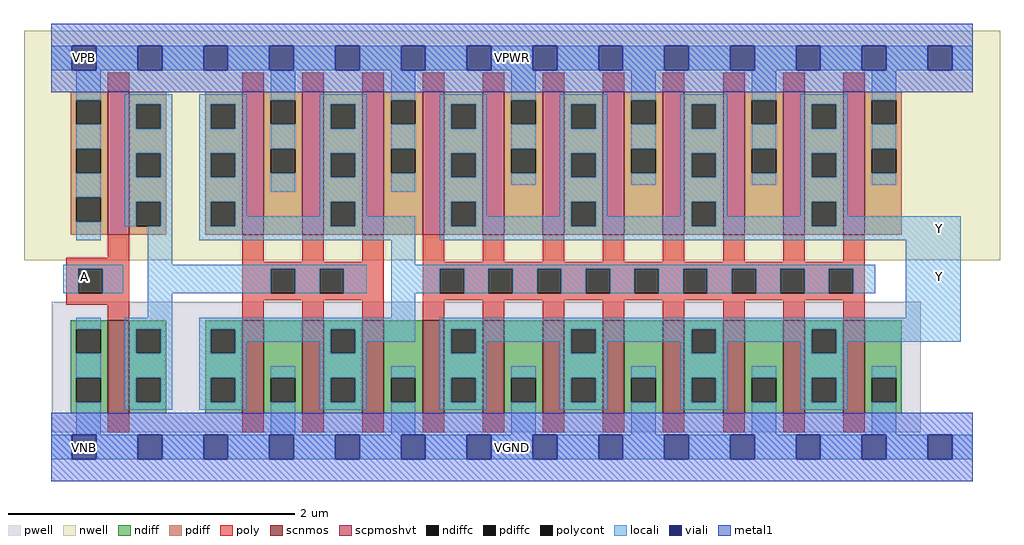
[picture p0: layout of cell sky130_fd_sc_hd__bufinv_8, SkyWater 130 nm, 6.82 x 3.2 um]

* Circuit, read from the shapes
.subckt sky130_fd_sc_hd__bufinv_8 A VGND VNB VPB VPWR Y
XM1 n1 A VGND VNB sky130_fd_pr__nfet_01v8 w=0.65 l=0.15
XM2 VGND n1 n2 VNB sky130_fd_pr__nfet_01v8 w=0.65 l=0.15 m=3
XM3 Y n2 VGND VNB sky130_fd_pr__nfet_01v8 w=0.65 l=0.15 m=8
XM4 n1 A VPWR VPB sky130_fd_pr__pfet_01v8_hvt w=1 l=0.15
XM5 VPWR n1 n2 VPB sky130_fd_pr__pfet_01v8_hvt w=1 l=0.15 m=3
XM6 Y n2 VPWR VPB sky130_fd_pr__pfet_01v8_hvt w=1 l=0.15 m=8
.ends

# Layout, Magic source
magic
tech sky130B
magscale 1 2
<< nwell >>
rect -38 261 1326 582
<< pwell >>
rect 1 21 1215 203
rect 30 -17 64 21
<< scnmos >>
rect 79 47 109 177
rect 267 47 297 177
rect 351 47 381 177
rect 435 47 465 177
rect 519 47 549 177
rect 603 47 633 177
rect 687 47 717 177
rect 771 47 801 177
rect 855 47 885 177
rect 939 47 969 177
rect 1023 47 1053 177
rect 1107 47 1137 177
<< scpmoshvt >>
rect 79 297 109 497
rect 267 297 297 497
rect 351 297 381 497
rect 435 297 465 497
rect 519 297 549 497
rect 603 297 633 497
rect 687 297 717 497
rect 771 297 801 497
rect 855 297 885 497
rect 939 297 969 497
rect 1023 297 1053 497
rect 1107 297 1137 497
<< ndiff >>
rect 27 165 79 177
rect 27 131 35 165
rect 69 131 79 165
rect 27 97 79 131
rect 27 63 35 97
rect 69 63 79 97
rect 27 47 79 63
rect 109 165 161 177
rect 109 131 119 165
rect 153 131 161 165
rect 109 97 161 131
rect 109 63 119 97
rect 153 63 161 97
rect 109 47 161 63
rect 215 165 267 177
rect 215 131 223 165
rect 257 131 267 165
rect 215 97 267 131
rect 215 63 223 97
rect 257 63 267 97
rect 215 47 267 63
rect 297 97 351 177
rect 297 63 307 97
rect 341 63 351 97
rect 297 47 351 63
rect 381 165 435 177
rect 381 131 391 165
rect 425 131 435 165
rect 381 97 435 131
rect 381 63 391 97
rect 425 63 435 97
rect 381 47 435 63
rect 465 97 519 177
rect 465 63 475 97
rect 509 63 519 97
rect 465 47 519 63
rect 549 165 603 177
rect 549 131 559 165
rect 593 131 603 165
rect 549 97 603 131
rect 549 63 559 97
rect 593 63 603 97
rect 549 47 603 63
rect 633 97 687 177
rect 633 63 643 97
rect 677 63 687 97
rect 633 47 687 63
rect 717 165 771 177
rect 717 131 727 165
rect 761 131 771 165
rect 717 97 771 131
rect 717 63 727 97
rect 761 63 771 97
rect 717 47 771 63
rect 801 97 855 177
rect 801 63 811 97
rect 845 63 855 97
rect 801 47 855 63
rect 885 165 939 177
rect 885 131 895 165
rect 929 131 939 165
rect 885 97 939 131
rect 885 63 895 97
rect 929 63 939 97
rect 885 47 939 63
rect 969 97 1023 177
rect 969 63 979 97
rect 1013 63 1023 97
rect 969 47 1023 63
rect 1053 165 1107 177
rect 1053 131 1063 165
rect 1097 131 1107 165
rect 1053 97 1107 131
rect 1053 63 1063 97
rect 1097 63 1107 97
rect 1053 47 1107 63
rect 1137 97 1189 177
rect 1137 63 1147 97
rect 1181 63 1189 97
rect 1137 47 1189 63
<< pdiff >>
rect 27 485 79 497
rect 27 451 35 485
rect 69 451 79 485
rect 27 417 79 451
rect 27 383 35 417
rect 69 383 79 417
rect 27 349 79 383
rect 27 315 35 349
rect 69 315 79 349
rect 27 297 79 315
rect 109 479 161 497
rect 109 445 119 479
rect 153 445 161 479
rect 109 411 161 445
rect 109 377 119 411
rect 153 377 161 411
rect 109 343 161 377
rect 109 309 119 343
rect 153 309 161 343
rect 109 297 161 309
rect 215 479 267 497
rect 215 445 223 479
rect 257 445 267 479
rect 215 411 267 445
rect 215 377 223 411
rect 257 377 267 411
rect 215 343 267 377
rect 215 309 223 343
rect 257 309 267 343
rect 215 297 267 309
rect 297 485 351 497
rect 297 451 307 485
rect 341 451 351 485
rect 297 417 351 451
rect 297 383 307 417
rect 341 383 351 417
rect 297 297 351 383
rect 381 479 435 497
rect 381 445 391 479
rect 425 445 435 479
rect 381 411 435 445
rect 381 377 391 411
rect 425 377 435 411
rect 381 343 435 377
rect 381 309 391 343
rect 425 309 435 343
rect 381 297 435 309
rect 465 485 519 497
rect 465 451 475 485
rect 509 451 519 485
rect 465 417 519 451
rect 465 383 475 417
rect 509 383 519 417
rect 465 297 519 383
rect 549 479 603 497
rect 549 445 559 479
rect 593 445 603 479
rect 549 411 603 445
rect 549 377 559 411
rect 593 377 603 411
rect 549 343 603 377
rect 549 309 559 343
rect 593 309 603 343
rect 549 297 603 309
rect 633 485 687 497
rect 633 451 643 485
rect 677 451 687 485
rect 633 417 687 451
rect 633 383 643 417
rect 677 383 687 417
rect 633 297 687 383
rect 717 479 771 497
rect 717 445 727 479
rect 761 445 771 479
rect 717 411 771 445
rect 717 377 727 411
rect 761 377 771 411
rect 717 343 771 377
rect 717 309 727 343
rect 761 309 771 343
rect 717 297 771 309
rect 801 485 855 497
rect 801 451 811 485
rect 845 451 855 485
rect 801 417 855 451
rect 801 383 811 417
rect 845 383 855 417
rect 801 297 855 383
rect 885 479 939 497
rect 885 445 895 479
rect 929 445 939 479
rect 885 411 939 445
rect 885 377 895 411
rect 929 377 939 411
rect 885 343 939 377
rect 885 309 895 343
rect 929 309 939 343
rect 885 297 939 309
rect 969 485 1023 497
rect 969 451 979 485
rect 1013 451 1023 485
rect 969 417 1023 451
rect 969 383 979 417
rect 1013 383 1023 417
rect 969 297 1023 383
rect 1053 479 1107 497
rect 1053 445 1063 479
rect 1097 445 1107 479
rect 1053 411 1107 445
rect 1053 377 1063 411
rect 1097 377 1107 411
rect 1053 343 1107 377
rect 1053 309 1063 343
rect 1097 309 1107 343
rect 1053 297 1107 309
rect 1137 485 1189 497
rect 1137 451 1147 485
rect 1181 451 1189 485
rect 1137 417 1189 451
rect 1137 383 1147 417
rect 1181 383 1189 417
rect 1137 297 1189 383
<< ndiffc >>
rect 35 131 69 165
rect 35 63 69 97
rect 119 131 153 165
rect 119 63 153 97
rect 223 131 257 165
rect 223 63 257 97
rect 307 63 341 97
rect 391 131 425 165
rect 391 63 425 97
rect 475 63 509 97
rect 559 131 593 165
rect 559 63 593 97
rect 643 63 677 97
rect 727 131 761 165
rect 727 63 761 97
rect 811 63 845 97
rect 895 131 929 165
rect 895 63 929 97
rect 979 63 1013 97
rect 1063 131 1097 165
rect 1063 63 1097 97
rect 1147 63 1181 97
<< pdiffc >>
rect 35 451 69 485
rect 35 383 69 417
rect 35 315 69 349
rect 119 445 153 479
rect 119 377 153 411
rect 119 309 153 343
rect 223 445 257 479
rect 223 377 257 411
rect 223 309 257 343
rect 307 451 341 485
rect 307 383 341 417
rect 391 445 425 479
rect 391 377 425 411
rect 391 309 425 343
rect 475 451 509 485
rect 475 383 509 417
rect 559 445 593 479
rect 559 377 593 411
rect 559 309 593 343
rect 643 451 677 485
rect 643 383 677 417
rect 727 445 761 479
rect 727 377 761 411
rect 727 309 761 343
rect 811 451 845 485
rect 811 383 845 417
rect 895 445 929 479
rect 895 377 929 411
rect 895 309 929 343
rect 979 451 1013 485
rect 979 383 1013 417
rect 1063 445 1097 479
rect 1063 377 1097 411
rect 1063 309 1097 343
rect 1147 451 1181 485
rect 1147 383 1181 417
<< poly >>
rect 79 497 109 523
rect 267 497 297 523
rect 351 497 381 523
rect 435 497 465 523
rect 519 497 549 523
rect 603 497 633 523
rect 687 497 717 523
rect 771 497 801 523
rect 855 497 885 523
rect 939 497 969 523
rect 1023 497 1053 523
rect 1107 497 1137 523
rect 79 265 109 297
rect 21 249 109 265
rect 21 215 38 249
rect 72 215 109 249
rect 21 199 109 215
rect 79 177 109 199
rect 267 259 297 297
rect 351 259 381 297
rect 435 259 465 297
rect 267 249 465 259
rect 267 215 307 249
rect 341 215 375 249
rect 409 215 465 249
rect 267 205 465 215
rect 267 177 297 205
rect 351 177 381 205
rect 435 177 465 205
rect 519 259 549 297
rect 603 259 633 297
rect 687 259 717 297
rect 771 259 801 297
rect 855 259 885 297
rect 939 259 969 297
rect 1023 259 1053 297
rect 1107 259 1137 297
rect 519 249 1137 259
rect 519 215 543 249
rect 577 215 611 249
rect 645 215 679 249
rect 713 215 747 249
rect 781 215 815 249
rect 849 215 883 249
rect 917 215 951 249
rect 985 215 1019 249
rect 1053 215 1087 249
rect 1121 215 1137 249
rect 519 205 1137 215
rect 519 177 549 205
rect 603 177 633 205
rect 687 177 717 205
rect 771 177 801 205
rect 855 177 885 205
rect 939 177 969 205
rect 1023 177 1053 205
rect 1107 177 1137 205
rect 79 21 109 47
rect 267 21 297 47
rect 351 21 381 47
rect 435 21 465 47
rect 519 21 549 47
rect 603 21 633 47
rect 687 21 717 47
rect 771 21 801 47
rect 855 21 885 47
rect 939 21 969 47
rect 1023 21 1053 47
rect 1107 21 1137 47
<< polycont >>
rect 38 215 72 249
rect 307 215 341 249
rect 375 215 409 249
rect 543 215 577 249
rect 611 215 645 249
rect 679 215 713 249
rect 747 215 781 249
rect 815 215 849 249
rect 883 215 917 249
rect 951 215 985 249
rect 1019 215 1053 249
rect 1087 215 1121 249
<< locali >>
rect 0 527 29 561
rect 63 527 121 561
rect 155 527 213 561
rect 247 527 305 561
rect 339 527 397 561
rect 431 527 489 561
rect 523 527 581 561
rect 615 527 673 561
rect 707 527 765 561
rect 799 527 857 561
rect 891 527 949 561
rect 983 527 1041 561
rect 1075 527 1133 561
rect 1167 527 1225 561
rect 1259 527 1288 561
rect 35 485 69 527
rect 35 417 69 451
rect 35 349 69 383
rect 35 289 69 315
rect 103 479 169 493
rect 103 445 119 479
rect 153 445 169 479
rect 103 411 169 445
rect 103 377 119 411
rect 153 377 169 411
rect 103 343 169 377
rect 103 309 119 343
rect 153 309 169 343
rect 135 255 169 309
rect 207 479 273 493
rect 207 445 223 479
rect 257 445 273 479
rect 207 411 273 445
rect 207 377 223 411
rect 257 377 273 411
rect 207 343 273 377
rect 307 485 341 527
rect 307 417 341 451
rect 307 357 341 383
rect 375 479 441 493
rect 375 445 391 479
rect 425 445 441 479
rect 375 411 441 445
rect 375 377 391 411
rect 425 377 441 411
rect 207 309 223 343
rect 257 323 273 343
rect 375 343 441 377
rect 475 485 509 527
rect 475 417 509 451
rect 475 357 509 383
rect 543 479 609 493
rect 543 445 559 479
rect 593 445 609 479
rect 543 411 609 445
rect 543 377 559 411
rect 593 377 609 411
rect 375 323 391 343
rect 257 309 391 323
rect 425 323 441 343
rect 543 343 609 377
rect 643 485 677 527
rect 643 417 677 451
rect 643 367 677 383
rect 711 479 777 493
rect 711 445 727 479
rect 761 445 777 479
rect 711 411 777 445
rect 711 377 727 411
rect 761 377 777 411
rect 425 309 509 323
rect 207 289 509 309
rect 543 309 559 343
rect 593 323 609 343
rect 711 343 777 377
rect 811 485 845 527
rect 811 417 845 451
rect 811 367 845 383
rect 879 479 945 493
rect 879 445 895 479
rect 929 445 945 479
rect 879 411 945 445
rect 879 377 895 411
rect 929 377 945 411
rect 711 323 727 343
rect 593 309 727 323
rect 761 323 777 343
rect 879 343 945 377
rect 979 485 1013 527
rect 979 417 1013 451
rect 979 367 1013 383
rect 1047 479 1113 493
rect 1047 445 1063 479
rect 1097 445 1113 479
rect 1047 411 1113 445
rect 1047 377 1063 411
rect 1097 377 1113 411
rect 879 323 895 343
rect 761 309 895 323
rect 929 323 945 343
rect 1047 343 1113 377
rect 1147 485 1181 527
rect 1147 417 1181 451
rect 1147 367 1181 383
rect 1047 323 1063 343
rect 929 309 1063 323
rect 1097 323 1113 343
rect 1097 309 1271 323
rect 543 289 1271 309
rect 475 255 509 289
rect 17 249 101 255
rect 17 215 38 249
rect 72 215 101 249
rect 135 249 441 255
rect 135 215 307 249
rect 341 215 375 249
rect 409 215 441 249
rect 475 249 1152 255
rect 475 215 543 249
rect 577 215 611 249
rect 645 215 679 249
rect 713 215 747 249
rect 781 215 815 249
rect 849 215 883 249
rect 917 215 951 249
rect 985 215 1019 249
rect 1053 215 1087 249
rect 1121 215 1152 249
rect 135 181 169 215
rect 475 181 509 215
rect 1194 181 1271 289
rect 35 165 69 181
rect 35 97 69 131
rect 35 17 69 63
rect 103 165 169 181
rect 103 131 119 165
rect 153 131 169 165
rect 103 97 169 131
rect 103 63 119 97
rect 153 63 169 97
rect 103 52 169 63
rect 207 165 509 181
rect 207 131 223 165
rect 257 147 391 165
rect 257 131 273 147
rect 207 97 273 131
rect 375 131 391 147
rect 425 147 509 165
rect 543 165 1271 181
rect 425 131 441 147
rect 207 63 223 97
rect 257 63 273 97
rect 207 52 273 63
rect 307 97 341 113
rect 307 17 341 63
rect 375 97 441 131
rect 543 131 559 165
rect 593 147 727 165
rect 593 131 609 147
rect 375 63 391 97
rect 425 63 441 97
rect 375 52 441 63
rect 475 97 509 113
rect 475 17 509 63
rect 543 97 609 131
rect 711 131 727 147
rect 761 147 895 165
rect 761 131 777 147
rect 543 63 559 97
rect 593 63 609 97
rect 543 52 609 63
rect 643 97 677 113
rect 643 17 677 63
rect 711 97 777 131
rect 879 131 895 147
rect 929 147 1063 165
rect 929 131 945 147
rect 711 63 727 97
rect 761 63 777 97
rect 711 52 777 63
rect 811 97 845 113
rect 811 17 845 63
rect 879 97 945 131
rect 1047 131 1063 147
rect 1097 147 1271 165
rect 1097 131 1113 147
rect 879 63 895 97
rect 929 63 945 97
rect 879 52 945 63
rect 979 97 1013 113
rect 979 17 1013 63
rect 1047 97 1113 131
rect 1047 63 1063 97
rect 1097 63 1113 97
rect 1047 52 1113 63
rect 1147 97 1181 113
rect 1147 17 1181 63
rect 0 -17 29 17
rect 63 -17 121 17
rect 155 -17 213 17
rect 247 -17 305 17
rect 339 -17 397 17
rect 431 -17 489 17
rect 523 -17 581 17
rect 615 -17 673 17
rect 707 -17 765 17
rect 799 -17 857 17
rect 891 -17 949 17
rect 983 -17 1041 17
rect 1075 -17 1133 17
rect 1167 -17 1225 17
rect 1259 -17 1288 17
<< viali >>
rect 29 527 63 561
rect 121 527 155 561
rect 213 527 247 561
rect 305 527 339 561
rect 397 527 431 561
rect 489 527 523 561
rect 581 527 615 561
rect 673 527 707 561
rect 765 527 799 561
rect 857 527 891 561
rect 949 527 983 561
rect 1041 527 1075 561
rect 1133 527 1167 561
rect 1225 527 1259 561
rect 29 -17 63 17
rect 121 -17 155 17
rect 213 -17 247 17
rect 305 -17 339 17
rect 397 -17 431 17
rect 489 -17 523 17
rect 581 -17 615 17
rect 673 -17 707 17
rect 765 -17 799 17
rect 857 -17 891 17
rect 949 -17 983 17
rect 1041 -17 1075 17
rect 1133 -17 1167 17
rect 1225 -17 1259 17
<< metal1 >>
rect 0 561 1288 592
rect 0 527 29 561
rect 63 527 121 561
rect 155 527 213 561
rect 247 527 305 561
rect 339 527 397 561
rect 431 527 489 561
rect 523 527 581 561
rect 615 527 673 561
rect 707 527 765 561
rect 799 527 857 561
rect 891 527 949 561
rect 983 527 1041 561
rect 1075 527 1133 561
rect 1167 527 1225 561
rect 1259 527 1288 561
rect 0 496 1288 527
rect 0 17 1288 48
rect 0 -17 29 17
rect 63 -17 121 17
rect 155 -17 213 17
rect 247 -17 305 17
rect 339 -17 397 17
rect 431 -17 489 17
rect 523 -17 581 17
rect 615 -17 673 17
rect 707 -17 765 17
rect 799 -17 857 17
rect 891 -17 949 17
rect 983 -17 1041 17
rect 1075 -17 1133 17
rect 1167 -17 1225 17
rect 1259 -17 1288 17
rect 0 -48 1288 -17
<< labels >>
flabel locali s 30 221 64 255 0 FreeSans 200 0 0 0 A
port 1 nsew signal input
flabel locali s 1225 221 1259 255 0 FreeSans 200 0 0 0 Y
port 6 nsew signal output
flabel locali s 1225 289 1259 323 0 FreeSans 200 0 0 0 Y
port 6 nsew signal output
flabel pwell s 30 -17 64 17 0 FreeSans 200 0 0 0 VNB
port 3 nsew ground bidirectional
flabel nwell s 30 527 64 561 0 FreeSans 200 0 0 0 VPB
port 4 nsew power bidirectional
flabel metal1 s 30 -17 64 17 0 FreeSans 200 0 0 0 VGND
port 2 nsew ground bidirectional abutment
flabel metal1 s 30 527 64 561 0 FreeSans 200 0 0 0 VPWR
port 5 nsew power bidirectional abutment
rlabel comment s 0 0 0 0 4 bufinv_8
rlabel metal1 s 0 -48 1288 48 1 VGND
port 2 nsew ground bidirectional abutment
rlabel metal1 s 0 496 1288 592 1 VPWR
port 5 nsew power bidirectional abutment
<< properties >>
string FIXED_BBOX 0 0 1288 544
string GDS_END 3224762
string GDS_FILE $PDKPATH/libs.ref/sky130_fd_sc_hd/gds/sky130_fd_sc_hd.gds
string GDS_START 3214610
string LEFclass CORE
string LEFsite unithd
string LEFsymmetry X Y R90
string path 0.000 0.000 32.200 0.000 
<< end >>
